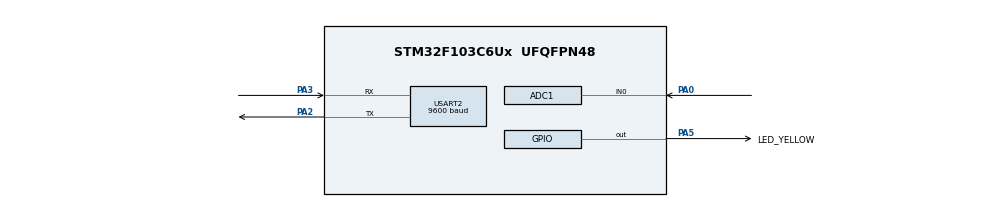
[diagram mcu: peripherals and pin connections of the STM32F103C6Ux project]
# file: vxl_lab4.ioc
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ADC1.Channel-0\#ChannelRegularConversion=ADC_CHANNEL_0
ADC1.ContinuousConvMode=ENABLE
ADC1.NbrOfConversionFlag=1
ADC1.Rank-0\#ChannelRegularConversion=1
ADC1.SamplingTime-0\#ChannelRegularConversion=ADC_SAMPLETIME_1CYCLE_5
ADC1.master=1
Mcu.Family=STM32F1
Mcu.Name=STM32F103C6Ux
Mcu.Package=UFQFPN48
NVIC.ADC1_2_IRQn=true\:0\:0\:false\:false\:true\:true\:true
NVIC.PriorityGroup=NVIC_PRIORITYGROUP_4
NVIC.TIM2_IRQn=true\:0\:0\:false\:false\:true\:true\:true
NVIC.USART2_IRQn=true\:0\:0\:false\:false\:true\:true\:true
PA0-WKUP.Signal=ADCx_IN0
PA2.Mode=Asynchronous
PA2.Signal=USART2_TX
PA3.Mode=Asynchronous
PA3.Signal=USART2_RX
PA5.GPIO_Label=LED_YELLOW
PA5.Signal=GPIO_Output
PA6.Signal=S_TIM3_CH1
ProjectManager.HeapSize=0x200
ProjectManager.StackSize=0x400
ProjectManager.TargetToolchain=STM32CubeIDE
RCC.APB1Freq_Value=8000000
RCC.APB2Freq_Value=8000000
SH.ADCx_IN0.0=ADC1_IN0,IN0
SH.S_TIM3_CH1.0=TIM3_CH1
TIM2.Period=9
TIM2.Prescaler=7999
USART2.BaudRate=9600
USART2.VirtualMode=VM_ASYNC
VP_SYS_VS_ND.Mode=No_Debug
VP_TIM2_VS_ClockSourceINT.Mode=Internal
board=custom

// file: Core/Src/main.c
/* USER CODE BEGIN Header */
/**
  ******************************************************************************
  * @file           : main.c
  * @brief          : Main program body
  ******************************************************************************
  * @attention
  *
  * <h2><center>&copy; Copyright (c) 2023 STMicroelectronics.
  * All rights reserved.</center></h2>
  *
  * This software component is licensed by ST under BSD 3-Clause license,
  * the "License"; You may not use this file except in compliance with the
  * License. You may obtain a copy of the License at:
  *                        opensource.org/licenses/BSD-3-Clause
  *
  ******************************************************************************
  */
/* USER CODE END Header */
#include "main.h"

/* USER CODE BEGIN Includes */
#include "global.h"
#include "stdio.h"
#include "string.h"
#include "software_timer.h"
#include "uart_com.h"
/* USER CODE END Includes */

ADC_HandleTypeDef hadc1;

TIM_HandleTypeDef htim2;

UART_HandleTypeDef huart2;

void SystemClock_Config(void);
static void MX_GPIO_Init(void);
static void MX_ADC1_Init(void);
static void MX_USART2_UART_Init(void);
static void MX_TIM2_Init(void);

/* USER CODE BEGIN 0 */

void HAL_UART_RxCpltCallback(UART_HandleTypeDef * huart) {
	if(huart->Instance == USART2){
		buffer[index_buffer++] = temp;
		if(index_buffer == MAX_BUFFER_SIZE) index_buffer = 0;
		buffer_flag = 1;
		HAL_UART_Receive_IT(&huart2, &temp, 1);
	}
}

/* USER CODE END 0 */

int main(void)
{

  /* MCU Configuration--------------------------------------------------------*/

  /* Reset of all peripherals, Initializes the Flash interface and the Systick. */
  HAL_Init();

  /* Configure the system clock */
  SystemClock_Config();

  /* Initialize all configured peripherals */
  MX_GPIO_Init();
  MX_ADC1_Init();
  MX_USART2_UART_Init();
  MX_TIM2_Init();
  /* USER CODE BEGIN 2 */
  HAL_TIM_Base_Start_IT(&htim2);
  HAL_UART_Receive_IT(&huart2 , & temp , 1) ;
  /* USER CODE END 2 */

  /* Infinite loop */
  /* USER CODE BEGIN WHILE */

  setTimer(0,1000);
  clearTimer(1);
  while (1)
  {

    /* USER CODE END WHILE */

    /* USER CODE BEGIN 3 */
	  if (timer_flag[0] == 1) {
	  		  HAL_GPIO_TogglePin(LED_YELLOW_GPIO_Port, LED_YELLOW_Pin);
	  		  setTimer(0,500);
	  	  }
	  	  // If received byte, call command_parser_fsm function
	  if (buffer_flag == 1) {
	 	  	command_parser_fsm();
	 	  	buffer_flag = 0;
	 	  }
	  uart_communiation_fsm(hadc1, huart2);
  }
  /* USER CODE END 3 */
}

void SystemClock_Config(void)
{
  RCC_OscInitTypeDef RCC_OscInitStruct = {0};
  RCC_ClkInitTypeDef RCC_ClkInitStruct = {0};
  RCC_PeriphCLKInitTypeDef PeriphClkInit = {0};

  /** Initializes the RCC Oscillators according to the specified parameters
  * in the RCC_OscInitTypeDef structure.
  */
  RCC_OscInitStruct.OscillatorType = RCC_OSCILLATORTYPE_HSI;
  RCC_OscInitStruct.HSIState = RCC_HSI_ON;
  RCC_OscInitStruct.HSICalibrationValue = RCC_HSICALIBRATION_DEFAULT;
  RCC_OscInitStruct.PLL.PLLState = RCC_PLL_NONE;
  if (HAL_RCC_OscConfig(&RCC_OscInitStruct) != HAL_OK)
  {
    Error_Handler();
  }
  /** Initializes the CPU, AHB and APB buses clocks
  */
  RCC_ClkInitStruct.ClockType = RCC_CLOCKTYPE_HCLK|RCC_CLOCKTYPE_SYSCLK
                              |RCC_CLOCKTYPE_PCLK1|RCC_CLOCKTYPE_PCLK2;
  RCC_ClkInitStruct.SYSCLKSource = RCC_SYSCLKSOURCE_HSI;
  RCC_ClkInitStruct.AHBCLKDivider = RCC_SYSCLK_DIV1;
  RCC_ClkInitStruct.APB1CLKDivider = RCC_HCLK_DIV1;
  RCC_ClkInitStruct.APB2CLKDivider = RCC_HCLK_DIV1;

  if (HAL_RCC_ClockConfig(&RCC_ClkInitStruct, FLASH_LATENCY_0) != HAL_OK)
  {
    Error_Handler();
  }
  PeriphClkInit.PeriphClockSelection = RCC_PERIPHCLK_ADC;
  PeriphClkInit.AdcClockSelection = RCC_ADCPCLK2_DIV2;
  if (HAL_RCCEx_PeriphCLKConfig(&PeriphClkInit) != HAL_OK)
  {
    Error_Handler();
  }
}

static void MX_ADC1_Init(void)
{

  ADC_ChannelConfTypeDef sConfig = {0};

  /** Common config
  */
  hadc1.Instance = ADC1;
  hadc1.Init.ScanConvMode = ADC_SCAN_DISABLE;
  hadc1.Init.ContinuousConvMode = ENABLE;
  hadc1.Init.DiscontinuousConvMode = DISABLE;
  hadc1.Init.ExternalTrigConv = ADC_SOFTWARE_START;
  hadc1.Init.DataAlign = ADC_DATAALIGN_RIGHT;
  hadc1.Init.NbrOfConversion = 1;
  if (HAL_ADC_Init(&hadc1) != HAL_OK)
  {
    Error_Handler();
  }
  /** Configure Regular Channel
  */
  sConfig.Channel = ADC_CHANNEL_0;
  sConfig.Rank = ADC_REGULAR_RANK_1;
  sConfig.SamplingTime = ADC_SAMPLETIME_1CYCLE_5;
  if (HAL_ADC_ConfigChannel(&hadc1, &sConfig) != HAL_OK)
  {
    Error_Handler();
  }

}

static void MX_TIM2_Init(void)
{

  TIM_ClockConfigTypeDef sClockSourceConfig = {0};
  TIM_MasterConfigTypeDef sMasterConfig = {0};

  htim2.Instance = TIM2;
  htim2.Init.Prescaler = 7999;
  htim2.Init.CounterMode = TIM_COUNTERMODE_UP;
  htim2.Init.Period = 9;
  htim2.Init.ClockDivision = TIM_CLOCKDIVISION_DIV1;
  htim2.Init.AutoReloadPreload = TIM_AUTORELOAD_PRELOAD_DISABLE;
  if (HAL_TIM_Base_Init(&htim2) != HAL_OK)
  {
    Error_Handler();
  }
  sClockSourceConfig.ClockSource = TIM_CLOCKSOURCE_INTERNAL;
  if (HAL_TIM_ConfigClockSource(&htim2, &sClockSourceConfig) != HAL_OK)
  {
    Error_Handler();
  }
  sMasterConfig.MasterOutputTrigger = TIM_TRGO_RESET;
  sMasterConfig.MasterSlaveMode = TIM_MASTERSLAVEMODE_DISABLE;
  if (HAL_TIMEx_MasterConfigSynchronization(&htim2, &sMasterConfig) != HAL_OK)
  {
    Error_Handler();
  }

}

static void MX_USART2_UART_Init(void)
{

  huart2.Instance = USART2;
  huart2.Init.BaudRate = 9600;
  huart2.Init.WordLength = UART_WORDLENGTH_8B;
  huart2.Init.StopBits = UART_STOPBITS_1;
  huart2.Init.Parity = UART_PARITY_NONE;
  huart2.Init.Mode = UART_MODE_TX_RX;
  huart2.Init.HwFlowCtl = UART_HWCONTROL_NONE;
  huart2.Init.OverSampling = UART_OVERSAMPLING_16;
  if (HAL_UART_Init(&huart2) != HAL_OK)
  {
    Error_Handler();
  }

}

static void MX_GPIO_Init(void)
{
  GPIO_InitTypeDef GPIO_InitStruct = {0};

  /* GPIO Ports Clock Enable */
  __HAL_RCC_GPIOA_CLK_ENABLE();

  /*Configure GPIO pin Output Level */
  HAL_GPIO_WritePin(LED_YELLOW_GPIO_Port, LED_YELLOW_Pin, GPIO_PIN_RESET);

  /*Configure GPIO pin : LED_YELLOW_Pin */
  GPIO_InitStruct.Pin = LED_YELLOW_Pin;
  GPIO_InitStruct.Mode = GPIO_MODE_OUTPUT_PP;
  GPIO_InitStruct.Pull = GPIO_NOPULL;
  GPIO_InitStruct.Speed = GPIO_SPEED_FREQ_LOW;
  HAL_GPIO_Init(LED_YELLOW_GPIO_Port, &GPIO_InitStruct);

  /*Configure GPIO pin : PA6 */
  GPIO_InitStruct.Pin = GPIO_PIN_6;
  GPIO_InitStruct.Mode = GPIO_MODE_AF_PP;
  GPIO_InitStruct.Speed = GPIO_SPEED_FREQ_LOW;
  HAL_GPIO_Init(GPIOA, &GPIO_InitStruct);

}

/* USER CODE BEGIN 4 */
void HAL_TIM_PeriodElapsedCallback(TIM_HandleTypeDef *htim){
	timerRun();
}
/* USER CODE END 4 */

void Error_Handler(void)
{
  __disable_irq();
  while (1)
  {
  }
}

/************************ (C) COPYRIGHT STMicroelectronics *****END OF FILE****/
